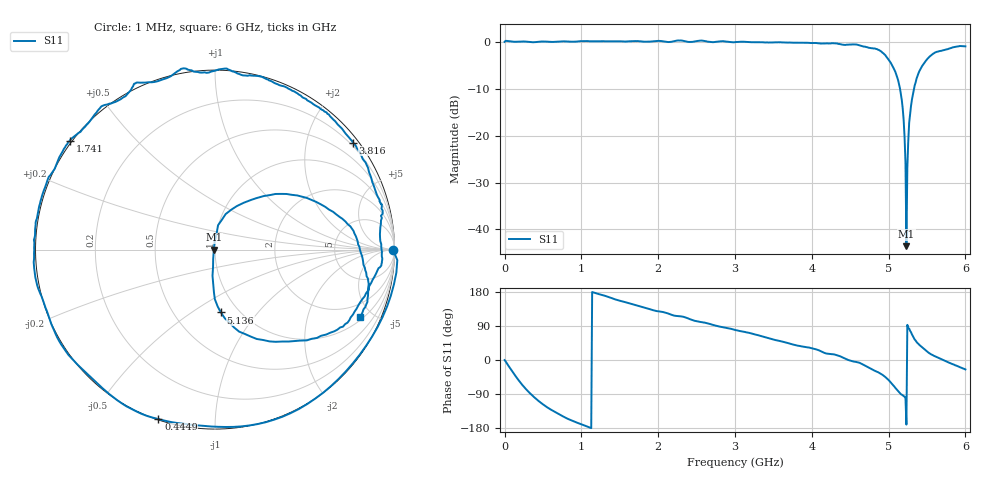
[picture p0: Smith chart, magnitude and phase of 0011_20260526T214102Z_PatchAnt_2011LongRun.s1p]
# Hz S RI R 50
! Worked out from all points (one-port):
!   501 points, 1 MHz to 6 GHz, reference 50 ohm
!   lowest |S11| = -43.6 dB at 5.232 GHz (marker M1), VSWR 1.01, Z = 49.3 - j0.109 ohm
!   |S11| at or under -10 dB: 5.149 GHz to 5.332 GHz (183.1 MHz wide, 3.49 % of centre)
!   S11 on the Smith chart (normalised r, x): 1 MHz: open; 444.9 MHz: 0.00, -0.72; 1.741 GHz: -0.01, +0.33; 3.816 GHz: 0.13, +2.91; 5.136 GHz: 0.83, -0.66; 6 GHz: 1.17, -4.22
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1000000  0.9935 -0.00426
8.4986e7  0.906 -0.4315
2.16964e8  0.4679 -0.8877
3.0095e8  0.1455 -0.9852
4.44926e8  -0.315 -0.9444
7.56874e8  -0.8565 -0.5292
1.056824e9  -1.007 -0.1052
1.50075e9  -0.9262 0.4054
1.74071e9  -0.8091 0.6073
2.256624e9  -0.4503 0.9245
3.0005e9  0.1826 0.9685
3.756374e9  0.7367 0.6362
3.816364e9  0.7683 0.5965
4.308282e9  0.9275 0.228
4.50025e9  0.9293 -0.0226
4.872188e9  0.6813 -0.4465
5.028162e9  0.3044 -0.5116
5.136144e9  0.0325 -0.3501
5.184136e9  -0.00997 -0.1936
5.196134e9  -0.0138 -0.146
5.208132e9  -0.0109 -0.0954
5.232128e9  -0.00655 -0.00111
5.256124e9  0.00849 0.0867
5.268122e9  0.017 0.1358
5.292118e9  0.0594 0.198
5.412098e9  0.3989 0.3099
5.628062e9  0.772 0.1036
6e9  0.8069 -0.3749
